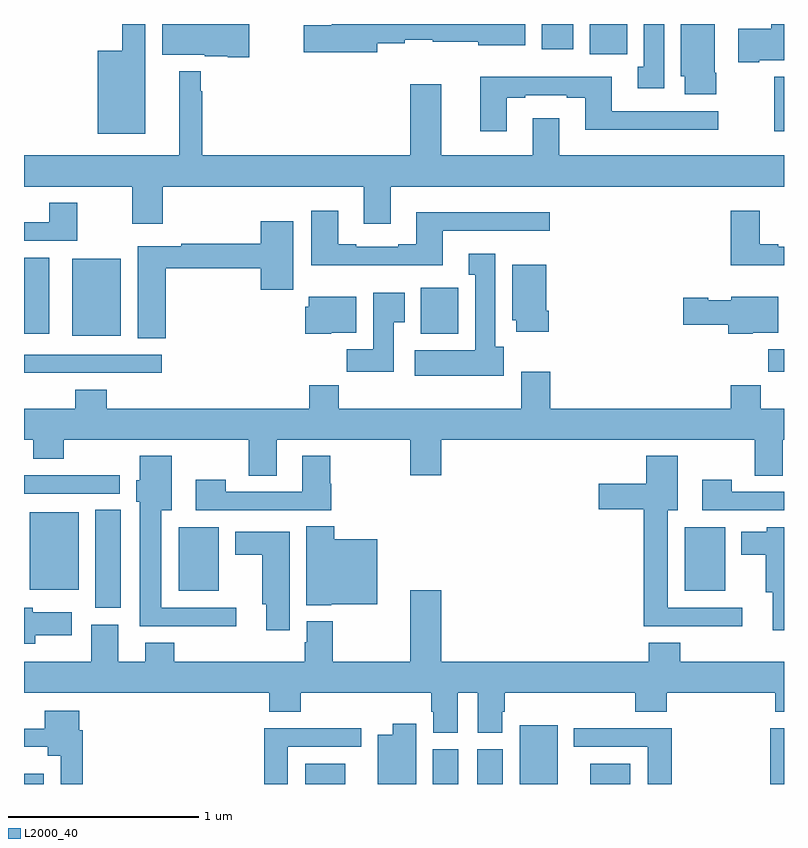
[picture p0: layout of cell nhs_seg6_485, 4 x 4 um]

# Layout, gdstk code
import gdstk
lib = gdstk.Library(unit=1e-6, precision=1e-09)
def R(c, l, rs):  # rectangles x0, y0, x1, y1
    for r in rs: c.add(gdstk.rectangle(r[:2], r[2:], *l))
def P(c, l, *ps):  # polygons
    for p in ps: c.add(gdstk.Polygon(p, *l))
L2000_40 = (2000, 40)

nhs_seg6_485 = lib.new_cell('nhs_seg6_485')
R(nhs_seg6_485, L2000_40, [(139,969.5,139.105,969.553), (140.48,969.5,140.692,969.607), (141.152,969.5,141.286,969.684), (141.386,969.5,141.52,969.684), (141.608,969.5,141.808,969.808), (141.98,969.5,142.192,969.607), (142.928,969.5,143,969.794), (139.376,970.427,139.51,970.943), (139.814,970.517,140.026,970.852), (142.478,970.517,142.69,970.852), (139.031,970.523,139.288,970.93), (139,971.028,139.504,971.124), (139,971.664,139.726,971.76), (142.918,971.67,143,971.788), (139.253,971.858,139.51,972.265), (139,971.87,139.132,972.271), (141.089,971.87,141.286,972.112), (142.948,972.936,143,973.222), (141.977,973.34,142.174,973.5), (141.725,973.368,141.892,973.5)])
P(nhs_seg6_485, L2000_40, [(142.369,973.5),(142.262,973.5),(142.262,973.274),(142.229,973.274),(142.229,973.161),(142.369,973.161)],
  [(142.87,973.31),(143,973.31),(143,973.5),(142.933,973.5),(142.933,973.476),(142.758,973.476),(142.758,973.298),(142.87,973.298)],
  [(140.86,973.399),(141.003,973.399),(141.003,973.417),(141.15,973.417),(141.15,973.406),(141.39,973.406),(141.39,973.388),(141.637,973.388),(141.637,973.5),(140.621,973.5),(140.621,973.494),(140.472,973.494),(140.472,973.352),(140.86,973.352)],
  [(142.644,973.243),(142.636,973.243),(142.636,973.5),(142.457,973.5),(142.457,973.224),(142.478,973.224),(142.478,973.131),(142.644,973.131)],
  [(140.185,973.5),(139.727,973.5),(139.727,973.337),(139.95,973.337),(139.95,973.331),(140.072,973.331),(140.072,973.325),(140.185,973.325)],
  [(139.639,973.5),(139.518,973.5),(139.518,973.36),(139.388,973.36),(139.388,972.923),(139.639,972.923)],
  [(143,972.808),(141.817,972.808),(141.817,973.003),(141.677,973.003),(141.677,972.808),(141.196,972.808),(141.196,973.183),(141.032,973.183),(141.032,972.808),(139.939,972.808),(139.939,973.145),(139.931,973.145),(139.931,973.252),(139.817,973.252),(139.817,972.808),(139,972.808),(139,972.644),(139.57,972.644),(139.57,972.45),(139.73,972.45),(139.73,972.644),(140.789,972.644),(140.789,972.45),(140.929,972.45),(140.929,972.644),(143,972.644)],
  [(141.541,973.113),(141.637,973.113),(141.637,973.125),(141.857,973.125),(141.857,973.113),(141.953,973.113),(141.953,972.944),(142.654,972.944),(142.654,973.041),(142.093,973.041),(142.093,973.222),(141.401,973.222),(141.401,972.936),(141.541,972.936)],
  [(139.281,972.559),(139.133,972.559),(139.133,972.456),(139,972.456),(139,972.36),(139.281,972.36)],
  [(141.205,972.411),(141.766,972.411),(141.766,972.508),(141.065,972.508),(141.065,972.34),(140.969,972.34),(140.969,972.327),(140.749,972.327),(140.749,972.34),(140.653,972.34),(140.653,972.517),(140.513,972.517),(140.513,972.23),(141.205,972.23)],
  [(143,972.327),(142.969,972.327),(142.969,972.34),(142.873,972.34),(142.873,972.517),(142.721,972.517),(142.721,972.23),(143,972.23)],
  [(139.745,972.214),(140.246,972.214),(140.246,972.102),(140.416,972.102),(140.416,972.463),(140.246,972.463),(140.246,972.343),(139.828,972.343),(139.828,972.33),(139.598,972.33),(139.598,971.845),(139.745,971.845)],
  [(141.526,971.802),(141.481,971.802),(141.481,972.292),(141.341,972.292),(141.341,972.179),(141.374,972.179),(141.374,971.782),(141.057,971.782),(141.057,971.648),(141.526,971.648)],
  [(141.761,971.992),(141.748,971.992),(141.748,972.232),(141.569,972.232),(141.569,971.94),(141.59,971.94),(141.59,971.88),(141.761,971.88)],
  [(140.947,971.929),(141.004,971.929),(141.004,972.085),(140.837,972.085),(140.837,971.788),(140.698,971.788),(140.698,971.67),(140.947,971.67)],
  [(142.836,971.876),(142.969,971.876),(142.969,972.064),(142.722,972.064),(142.722,972.046),(142.602,972.046),(142.602,972.059),(142.47,972.059),(142.47,971.917),(142.706,971.917),(142.706,971.87),(142.836,971.87)],
  [(140.616,971.876),(140.749,971.876),(140.749,972.064),(140.498,972.064),(140.498,972.012),(140.48,972.012),(140.48,971.87),(140.616,971.87)],
  [(140.329,971.312),(141.032,971.312),(141.032,971.124),(141.196,971.124),(141.196,971.312),(142.846,971.312),(142.846,971.122),(142.993,971.122),(142.993,971.312),(143,971.312),(143,971.476),(142.877,971.476),(142.877,971.6),(142.721,971.6),(142.721,971.476),(141.77,971.476),(141.77,971.671),(141.617,971.671),(141.617,971.476),(140.657,971.476),(140.657,971.6),(140.501,971.6),(140.501,971.476),(139.436,971.476),(139.436,971.575),(139.271,971.575),(139.271,971.476),(139,971.476),(139,971.312),(139.049,971.312),(139.049,971.213),(139.209,971.213),(139.209,971.312),(140.182,971.312),(140.182,971.122),(140.329,971.122)],
  [(140.116,970.428),(139.723,970.428),(139.723,970.94),(139.777,970.94),(139.777,971.227),(139.61,971.227),(139.61,971.1),(139.592,971.1),(139.592,970.986),(139.61,970.986),(139.61,970.331),(140.116,970.331)],
  [(140.618,971.079),(140.613,971.079),(140.613,971.227),(140.465,971.227),(140.465,971.037),(140.061,971.037),(140.061,971.101),(139.905,971.101),(139.905,970.941),(140.618,970.941)],
  [(142.78,970.428),(142.387,970.428),(142.387,970.94),(142.441,970.94),(142.441,971.227),(142.274,971.227),(142.274,971.08),(142.026,971.08),(142.026,970.946),(142.262,970.946),(142.262,970.331),(142.78,970.331)],
  [(143,971.037),(142.725,971.037),(142.725,971.101),(142.569,971.101),(142.569,970.941),(143,970.941)],
  [(140.616,970.445),(140.86,970.445),(140.86,970.789),(140.633,970.789),(140.633,970.856),(140.486,970.856),(140.486,970.442),(140.616,970.442)],
  [(143,970.852),(142.908,970.852),(142.908,970.828),(142.775,970.828),(142.775,970.706),(142.904,970.706),(142.904,970.508),(142.94,970.508),(142.94,970.308),(143,970.308)],
  [(140.398,970.828),(140.111,970.828),(140.111,970.706),(140.255,970.706),(140.255,970.446),(140.276,970.446),(140.276,970.308),(140.398,970.308)],
  [(139.059,970.283),(139.252,970.283),(139.252,970.405),(139.047,970.405),(139.047,970.428),(139,970.428),(139,970.238),(139.059,970.238)],
  [(142.289,970.243),(142.289,970.144),(141.196,970.144),(141.196,970.519),(141.032,970.519),(141.032,970.144),(140.625,970.144),(140.625,970.357),(140.489,970.357),(140.489,970.245),(140.477,970.245),(140.477,970.144),(139.79,970.144),(139.79,970.243),(139.637,970.243),(139.637,970.144),(139.495,970.144),(139.495,970.339),(139.355,970.339),(139.355,970.144),(139,970.144),(139,969.98),(140.291,969.98),(140.291,969.881),(140.456,969.881),(140.456,969.98),(141.143,969.98),(141.143,969.879),(141.155,969.879),(141.155,969.769),(141.283,969.769),(141.283,969.98),(141.389,969.98),(141.389,969.769),(141.517,969.769),(141.517,969.879),(141.53,969.879),(141.53,969.98),(142.217,969.98),(142.217,969.881),(142.382,969.881),(142.382,969.98),(142.955,969.98),(142.955,969.881),(143,969.881),(143,970.144),(142.454,970.144),(142.454,970.243)],
  [(139.31,969.782),(139.291,969.782),(139.291,969.886),(139.109,969.886),(139.109,969.792),(139,969.792),(139,969.696),(139.124,969.696),(139.124,969.65),(139.194,969.65),(139.194,969.5),(139.31,969.5)],
  [(141.064,969.817),(140.942,969.817),(140.942,969.76),(140.861,969.76),(140.861,969.5),(141.064,969.5)],
  [(140.389,969.696),(140.776,969.696),(140.776,969.794),(140.264,969.794),(140.264,969.5),(140.389,969.5)],
  [(142.409,969.794),(141.893,969.794),(141.893,969.696),(142.283,969.696),(142.283,969.5),(142.409,969.5)])

lib.write_gds('nhs_seg6_485.gds')
